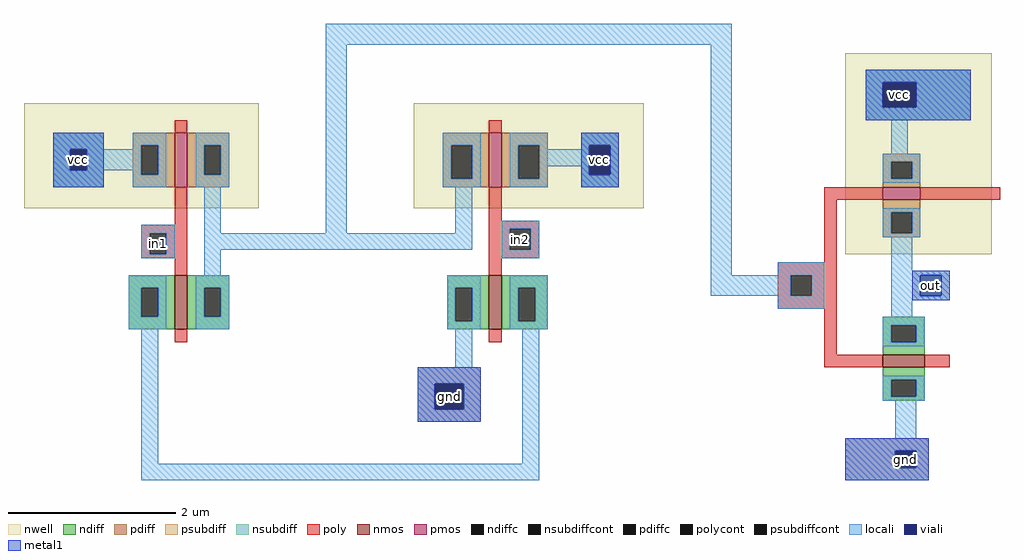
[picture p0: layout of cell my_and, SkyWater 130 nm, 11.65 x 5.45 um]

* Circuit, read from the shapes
.subckt my_and gnd in1 in2 vcc vdd
XM1 inv2_0/in in1 n1 gnd sky130_fd_pr__nfet_01v8 w=0.65 l=0.15
XM2 n1 in2 gnd gnd sky130_fd_pr__nfet_01v8 w=0.65 l=0.15
XM3 inv2_0/out inv2_0/in gnd gnd sky130_fd_pr__nfet_01v8 w=0.5 l=0.15
XM4 inv2_0/in in1 vcc vcc sky130_fd_pr__pfet_01v8 w=0.65 l=0.15
XM5 vcc in2 inv2_0/in vcc sky130_fd_pr__pfet_01v8 w=0.65 l=0.15
XM6 vdd inv2_0/in inv2_0/out vdd sky130_fd_pr__pfet_01v8 w=0.45 l=0.15
.ends

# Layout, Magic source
magic # THIS IS AND GATE!!
tech sky130A
<< nwell >>
rect -225 -20 55 105
rect 240 -20 515 105
<< nmos >>
rect -45 -165 -30 -100
rect 330 -165 345 -100
<< pmos >>
rect -45 5 -30 70
rect 330 5 345 70
<< ndiff >>
rect -100 -115 -45 -100
rect -100 -150 -85 -115
rect -65 -150 -45 -115
rect -100 -165 -45 -150
rect -30 -115 20 -100
rect -30 -150 -10 -115
rect 10 -150 20 -115
rect -30 -165 20 -150
rect 280 -115 330 -100
rect 280 -155 290 -115
rect 310 -155 330 -115
rect 280 -165 330 -155
rect 345 -115 400 -100
rect 345 -155 365 -115
rect 385 -155 400 -115
rect 345 -165 400 -155
<< pdiff >>
rect -95 55 -45 70
rect -95 20 -85 55
rect -65 20 -45 55
rect -95 5 -45 20
rect -30 55 20 70
rect -30 20 -10 55
rect 10 20 20 55
rect -30 5 20 20
rect 275 55 330 70
rect 275 15 285 55
rect 310 15 330 55
rect 275 5 330 15
rect 345 55 400 70
rect 345 15 365 55
rect 390 15 400 55
rect 345 5 400 15
<< ndiffc >>
rect -85 -150 -65 -115
rect -10 -150 10 -115
rect 290 -155 310 -115
rect 365 -155 385 -115
<< pdiffc >>
rect -85 20 -65 55
rect -10 20 10 55
rect 285 15 310 55
rect 365 15 390 55
<< psubdiff >>
rect 245 -230 320 -210
rect 245 -260 265 -230
rect 300 -260 320 -230
rect 245 -275 320 -260
<< nsubdiff >>
rect -190 50 -130 70
rect -190 25 -170 50
rect -150 25 -130 50
rect -190 5 -130 25
rect 440 55 485 70
rect 440 20 450 55
rect 475 20 485 55
rect 440 5 485 20
<< psubdiffcont >>
rect 265 -260 300 -230
<< nsubdiffcont >>
rect -170 25 -150 50
rect 450 20 475 55
<< poly >>
rect -45 70 -30 85
rect 330 70 345 85
rect -45 -40 -30 5
rect -85 -50 -30 -40
rect -85 -75 -75 -50
rect -55 -75 -30 -50
rect -85 -80 -30 -75
rect -45 -100 -30 -80
rect 330 -35 345 5
rect 330 -45 390 -35
rect 330 -70 355 -45
rect 380 -70 390 -45
rect 330 -80 390 -70
rect 330 -100 345 -80
rect -45 -180 -30 -165
rect 330 -180 345 -165
<< polycont >>
rect -75 -75 -55 -50
rect 355 -70 380 -45
<< locali >>
rect 135 175 620 200
rect -190 50 -130 70
rect -95 55 -55 70
rect -95 50 -85 55
rect -190 25 -170 50
rect -150 25 -85 50
rect -190 5 -130 25
rect -95 20 -85 25
rect -65 20 -55 55
rect -95 5 -55 20
rect -20 55 20 70
rect -20 20 -10 55
rect 10 20 20 55
rect -20 5 20 20
rect -85 -50 -45 -40
rect -85 -75 -75 -50
rect -55 -75 -45 -50
rect -85 -80 -45 -75
rect -10 -50 10 5
rect 135 -50 160 175
rect 275 55 320 70
rect 275 15 285 55
rect 310 15 320 55
rect 275 5 320 15
rect 355 55 400 70
rect 355 15 365 55
rect 390 50 400 55
rect 440 55 485 70
rect 440 50 450 55
rect 390 30 450 50
rect 390 15 400 30
rect 355 5 400 15
rect 440 20 450 30
rect 475 20 485 55
rect 440 5 485 20
rect 290 -50 310 5
rect -10 -70 310 -50
rect 345 -45 390 -35
rect 345 -70 355 -45
rect 380 -70 390 -45
rect -10 -100 10 -70
rect 345 -80 390 -70
rect 595 -100 620 175
rect -100 -115 -55 -100
rect -100 -150 -85 -115
rect -65 -150 -55 -115
rect -100 -165 -55 -150
rect -20 -115 20 -100
rect -20 -150 -10 -115
rect 10 -150 20 -115
rect -20 -165 20 -150
rect 280 -115 320 -100
rect 280 -155 290 -115
rect 310 -155 320 -115
rect 280 -165 320 -155
rect 355 -115 400 -100
rect 355 -155 365 -115
rect 385 -155 400 -115
rect 595 -125 675 -100
rect 355 -165 400 -155
rect -85 -325 -65 -165
rect 290 -210 310 -165
rect 245 -230 320 -210
rect 245 -260 265 -230
rect 300 -260 320 -230
rect 245 -275 320 -260
rect 370 -325 390 -165
rect -85 -345 390 -325
<< viali >>
rect -170 25 -150 50
rect 450 20 475 55
rect 265 -260 300 -230
<< metal1 >>
rect -190 50 -130 70
rect -190 25 -170 50
rect -150 25 -130 50
rect -190 5 -130 25
rect 440 55 485 70
rect 440 20 450 55
rect 475 20 485 55
rect 440 5 485 20
rect 245 -230 320 -210
rect 245 -260 265 -230
rect 300 -260 320 -230
rect 245 -275 320 -260
use inv2  inv2_0 /foss/designs/eda/inverter
transform 1 0 815 0 1 -10
box -140 -335 125 175
<< labels >>
rlabel polycont -75 -75 -55 -50 1 in1
rlabel nwell -170 25 -150 50 1 vcc
rlabel polycont 355 -70 380 -45 1 in2
rlabel metal1 265 -260 300 -230 1 gnd
rlabel nwell 450 20 475 55 1 vcc
rlabel space 845 -125 870 -100 1 out
rlabel space 800 100 840 130 1 vcc
rlabel space 815 -330 840 -310 1 gnd
<< end >>

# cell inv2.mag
magic
tech sky130A
<< nwell >>
rect -60 -65 115 175
<< nmos >>
rect -15 -200 35 -185
<< pmos >>
rect -15 0 30 15
<< ndiff >>
rect -15 -150 35 -140
rect -15 -170 -5 -150
rect 25 -170 35 -150
rect -15 -185 35 -170
rect -15 -215 35 -200
rect -15 -235 -5 -215
rect 25 -235 35 -215
rect -15 -240 35 -235
<< pdiff >>
rect -15 45 30 55
rect -15 25 -5 45
rect 20 25 30 45
rect -15 15 30 25
rect -15 -15 30 0
rect -15 -40 -5 -15
rect 20 -40 30 -15
rect -15 -45 30 -40
<< ndiffc >>
rect -5 -170 25 -150
rect -5 -235 25 -215
<< pdiffc >>
rect -5 25 20 45
rect -5 -40 20 -15
<< psubdiff >>
rect -60 -300 40 -285
rect -60 -320 0 -300
rect 25 -320 40 -300
rect -60 -335 40 -320
<< nsubdiff >>
rect -35 140 90 155
rect -35 110 -15 140
rect 25 110 90 140
rect -35 95 90 110
<< psubdiffcont >>
rect 0 -320 25 -300
<< nsubdiffcont >>
rect -15 110 25 140
<< poly >>
rect -85 0 -15 15
rect 30 0 125 15
rect -85 -75 -70 0
rect -140 -90 -70 -75
rect -140 -115 -125 -90
rect -100 -115 -70 -90
rect -140 -130 -70 -115
rect -85 -185 -70 -130
rect -85 -200 -15 -185
rect 35 -200 65 -185
<< polycont >>
rect -125 -115 -100 -90
<< locali >>
rect -35 140 90 155
rect -35 110 -15 140
rect 25 110 90 140
rect -35 95 90 110
rect -5 55 15 95
rect -15 45 30 55
rect -15 25 -5 45
rect 20 25 30 45
rect -15 20 30 25
rect -15 -15 30 -10
rect -15 -40 -5 -15
rect 20 -40 30 -15
rect -15 -45 30 -40
rect -140 -90 -85 -75
rect -140 -115 -125 -90
rect -100 -115 -85 -90
rect -140 -130 -85 -115
rect -5 -85 20 -45
rect -5 -90 65 -85
rect -5 -115 30 -90
rect 55 -115 65 -90
rect -5 -120 65 -115
rect -5 -140 20 -120
rect -15 -150 35 -140
rect -15 -170 -5 -150
rect 25 -170 35 -150
rect -15 -175 35 -170
rect -15 -215 35 -210
rect -15 -235 -5 -215
rect 25 -235 35 -215
rect -15 -240 35 -235
rect 0 -285 25 -240
rect -60 -300 40 -285
rect -60 -320 0 -300
rect 25 -320 40 -300
rect -60 -335 40 -320
<< viali >>
rect -15 110 25 140
rect 30 -115 55 -90
rect 0 -320 25 -300
<< metal1 >>
rect -35 140 90 155
rect -35 110 -15 140
rect 25 110 90 140
rect -35 95 90 110
rect 20 -90 65 -85
rect 20 -115 30 -90
rect 55 -115 65 -90
rect 20 -120 65 -115
rect -60 -300 40 -285
rect -60 -320 0 -300
rect 25 -320 40 -300
rect -60 -335 40 -320
<< labels >>
rlabel viali 30 -115 55 -90 1 out
rlabel polycont -125 -115 -100 -90 1 in
rlabel nwell -15 110 25 140 1 vdd
rlabel metal1 0 -320 25 -300 1 gnd
<< end >>
